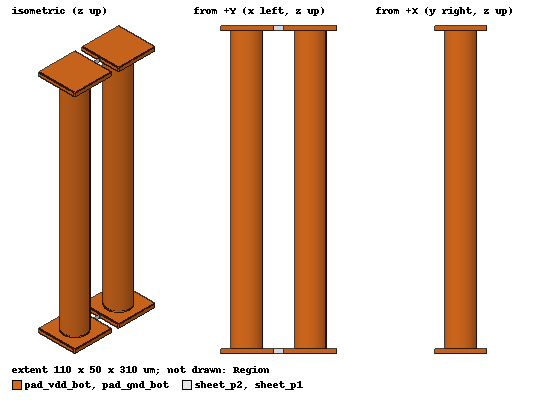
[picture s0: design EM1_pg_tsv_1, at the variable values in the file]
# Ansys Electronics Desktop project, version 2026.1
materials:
  vacuum: permittivity=1
  cu_src: permittivity=1 permeability=1 conductivity=58823529
  air: permittivity=1.0006 permeability=1.0000004

design EM1_pg_tsv_1 (HFSS, HFSS Terminal Network, model units um)
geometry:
  vdd_via0 = cylinder(axis=Z, base_centre=(-30um, 0um, 0um), radius=15um, height=300um)
  gnd_via0 = cylinder(axis=Z, base_centre=(30um, 0um, 0um), radius=15um, height=300um)
  pad_vdd_bot [cu_src] = box(corner=(-55um, -25um, -5um), size=(50um, 50um, 5um))
  pad_gnd_bot [cu_src] = box(corner=(5um, -25um, -5um), size=(50um, 50um, 5um))
  pad_vdd_top = box(corner=(-55um, -25um, 300um), size=(50um, 50um, 5um))
  pad_gnd_top = box(corner=(5um, -25um, 300um), size=(50um, 50um, 5um))
  pad_vdd_bot.unite(vdd_via0, pad_vdd_top)
  pad_gnd_bot.unite(gnd_via0, pad_gnd_top)
  sheet_p1 = rectangle(corner=(-5um, 0um, -5um), z_size=5um, x_size=10um)
  sheet_p2 = rectangle(corner=(-5um, 0um, 300um), z_size=5um, x_size=10um)
  Region [air] = region(percentage_offset: +X=300, -X=300, +Y=300, -Y=300, +Z=120, -Z=120)
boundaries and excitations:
  Rad__NSDRCD: Radiation Objects=Region
  p1: Lumped Port Objects=sheet_p1 LumpedPortType=Modal Modes{Mode1{IntLine{(-4.99um, 0um, -2.5um) -> (4.99um, 0um, -2.5um)} CharImp=Zpi}} Impedance=50ohm
  p2: Lumped Port Objects=sheet_p2 LumpedPortType=Modal Modes{Mode1{IntLine{(-4.99um, 0um, 302.5um) -> (4.99um, 0um, 302.5um)} CharImp=Zpi}} Impedance=50ohm
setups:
  s1: HfssDriven Frequency=1GHz MaxDeltaS=0.02 MaximumPasses=6 MinimumPasses=1 MinimumConvergedPasses=1 PercentRefinement=30 BasisOrder=1 PortAccuracy=2 DrivenSolverType="Direct Solver"
    sweep sw: 0.286MHz to 1000MHz, 9 points; Type=Discrete SaveFields
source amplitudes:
  p1:1: 1V 0deg
  p2:1: 0V 0deg
